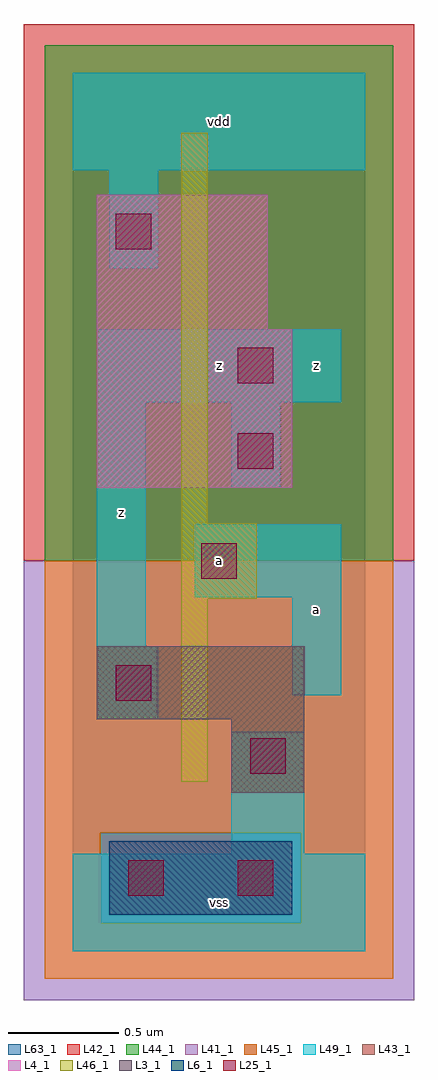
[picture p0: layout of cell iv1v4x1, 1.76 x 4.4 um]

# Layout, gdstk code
import gdstk
lib = gdstk.Library(unit=1e-6, precision=1e-09)
def R(c, l, rs):  # rectangles x0, y0, x1, y1
    for r in rs: c.add(gdstk.rectangle(r[:2], r[2:], *l))
L3_1 = (3, 1)
L4_1 = (4, 1)
L6_1 = (6, 1)
L25_1 = (25, 1)
L41_1 = (41, 1)
L42_1 = (42, 1)
L43_1 = (43, 1)
L44_1 = (44, 1)
L45_1 = (45, 1)
L46_1 = (46, 1)
L49_1 = (49, 1)
L63_1 = (63, 1)

iv1v4x1 = lib.new_cell('iv1v4x1')
R(iv1v4x1, L3_1, [(0.715,0.715,1.045,1.045), (0.11,1.045,1.045,1.375)])
R(iv1v4x1, L4_1, [(0.11,2.09,0.99,2.805), (0.11,2.805,0.88,3.41)])
R(iv1v4x1, L6_1, [(0.165,0.165,0.99,0.495)])
R(iv1v4x1, L25_1, [(0.25,0.25,0.41,0.41), (0.745,0.25,0.905,0.41), (0.8,0.8,0.96,0.96), (0.195,1.13,0.355,1.29), (0.58,1.68,0.74,1.84), (0.745,2.175,0.905,2.335), (0.745,2.56,0.905,2.72), (0.195,3.165,0.355,3.325)])
R(iv1v4x1, L41_1, [(-0.22,-0.22,1.54,1.76)])
R(iv1v4x1, L42_1, [(-0.22,1.76,1.54,4.18)])
R(iv1v4x1, L43_1, [(0.165,0.165,0.99,0.495), (0.715,0.715,1.045,1.045), (0.11,1.045,1.045,1.375), (0.11,2.09,0.99,2.805), (0.11,2.805,0.88,3.41)])
R(iv1v4x1, L44_1, [(0.125,0.125,1.03,0.535), (-0.125,1.76,1.445,4.085)])
R(iv1v4x1, L45_1, [(-0.125,-0.125,1.445,0.125), (-0.125,0.125,0.125,0.535), (1.03,0.125,1.445,0.535), (-0.125,0.535,1.445,1.76)])
R(iv1v4x1, L46_1, [(0.49,0.765,0.61,1.59), (0.49,1.59,0.83,1.93), (0.49,1.93,0.61,3.69)])
R(iv1v4x1, L49_1, [(0,0,1.32,0.44), (0.715,0.44,1.045,0.99), (0.11,1.045,0.385,1.375), (0.99,1.155,1.21,1.595), (0.11,1.375,0.33,2.475), (0.55,1.595,1.21,1.925), (0.715,2.09,0.935,2.475), (0.11,2.475,1.21,2.805), (0.165,3.08,0.385,3.52), (0,3.52,1.32,3.96)])
R(iv1v4x1, L63_1, [(0,0,1.32,3.96)])
iv1v4x1.add(gdstk.Label('z', (0.22,1.98), layer=49, texttype=1))
iv1v4x1.add(gdstk.Label('vss', (0.66,0.22), layer=49, texttype=1))
iv1v4x1.add(gdstk.Label('a', (0.66,1.76), layer=49, texttype=1))
iv1v4x1.add(gdstk.Label('z', (0.66,2.64), layer=49, texttype=1))
iv1v4x1.add(gdstk.Label('vdd', (0.66,3.74), layer=49, texttype=1))
iv1v4x1.add(gdstk.Label('a', (1.1,1.54), layer=49, texttype=1))
iv1v4x1.add(gdstk.Label('z', (1.1,2.64), layer=49, texttype=1))

lib.write_gds('iv1v4x1.gds')
